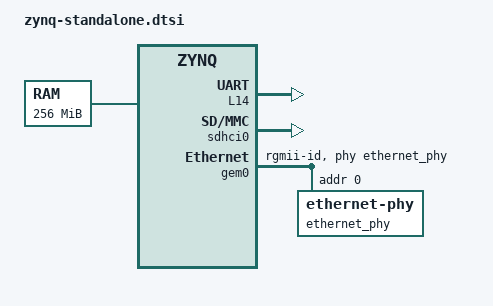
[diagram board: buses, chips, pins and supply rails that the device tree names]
/dts-v1/;

/ {
	L18: soc {
		L2: clint@2000000 {
			compatible = "riscv,clint0";
			interrupts-extended = <&L4 3 &L4 7>;
			reg = <0x0 0x38000000 0x0 0x10000>;
			reg-names = "control";
      clock-frequency-mhz = <60>;
		};
		L14: serial@60000000 {
			compatible = "xlnx,xuartps", "cdns,uart-r1p8";
			clock-names = "uart_clk", "pclk";
			clocks = <&L13 23>, <&L13 40>;
			interrupt-parent = <&L1>;
			interrupts = <2>;
			reg = <0x0 0xe0000000 0x0 0x1000>;
			reg-names = "control";
		};
		L1: interrupt-controller@c000000 {
			#interrupt-cells = <1>;
			compatible = "riscv,plic0";
			interrupt-controller;
			interrupts-extended = <&L4 9>;
			reg = <0x0 0x3c000000 0x0 0x4000000>;
			reg-names = "control";
			riscv,max-priority = <7>;
			riscv,ndev = <3>;
		};
		//L10: external-interrupts {
		//	interrupt-parent = <&L1>;
		//	interrupts = <1>;
		//};
		sdhci0: mmc@E0100000 {
			compatible = "arasan,sdhci-8.9a";
			clock-names = "clk_xin", "clk_ahb";
			clocks = <&L13 21>, <&L13 32>;
			interrupt-parent = <&L1>;
			interrupts = <1>;
			reg = <0x0 0xe0100000 0x0 0x1000>;
		};
		gem0: ethernet@e000b000 {
			compatible = "cdns,zynq-gem", "cdns,gem";
			reg = <0x0 0xe000b000 0x0 0x1000>;
			interrupts = <3>;
			interrupt-parent = <&L1>;
			clocks = <&L13 30>, <&L13 30>, <&L13 13>;
			clock-names = "pclk", "hclk", "tx_clk";
			#address-cells = <1>;
			#size-cells = <0>;

			phy-mode = "rgmii-id";
			phy-handle = <&ethernet_phy>;
			ethernet_phy: ethernet-phy@0 {
				reg = <0>;
				device_type = "ethernet-phy";
			};
		};
		L12: slcr@F8000000 {
			u-boot,dm-pre-reloc;
			#address-cells = <1>;
			#size-cells = <1>;
			compatible = "xlnx,zynq-slcr", "syscon", "simple-mfd";
			reg = <0x0 0xf8000000 0x0 0x1000>;
			ranges;
			L13: clkc {
				u-boot,dm-pre-reloc;
				#clock-cells = <1>;
				compatible = "xlnx,ps7-clkc";
				fclk-enable = <0xf>;
				clock-output-names = "armpll", "ddrpll", "iopll", "cpu_6or4x",
						"cpu_3or2x", "cpu_2x", "cpu_1x", "ddr2x", "ddr3x",
						"dci", "lqspi", "smc", "pcap", "gem0", "gem1",
						"fclk0", "fclk1", "fclk2", "fclk3", "can0", "can1",
						"sdio0", "sdio1", "uart0", "uart1", "spi0", "spi1",
						"dma", "usb0_aper", "usb1_aper", "gem0_aper",
						"gem1_aper", "sdio0_aper", "sdio1_aper",
						"spi0_aper", "spi1_aper", "can0_aper", "can1_aper",
						"i2c0_aper", "i2c1_aper", "uart0_aper", "uart1_aper",
						"gpio_aper", "lqspi_aper", "smc_aper", "swdt",
						"dbg_trc", "dbg_apb";
				reg = <0x100 0x100>;
				ps-clk-frequency = <50000000>;
			};
		};
	};
  chosen {
    bootargs = "console=ttyPS0,115200n8 root=/dev/mmcblk0p2 rootfstype=ext4 rw rootwait earlycon clk_ignore_unused";
    stdout-path = "serial0:115200n8";
  };
  aliases {
    serial0 = &L14;
  };
	L11: memory@100000000 {
		device_type = "memory";
		reg = <0x0 0x50000000 0x0 0x10000000>;
	};
};
